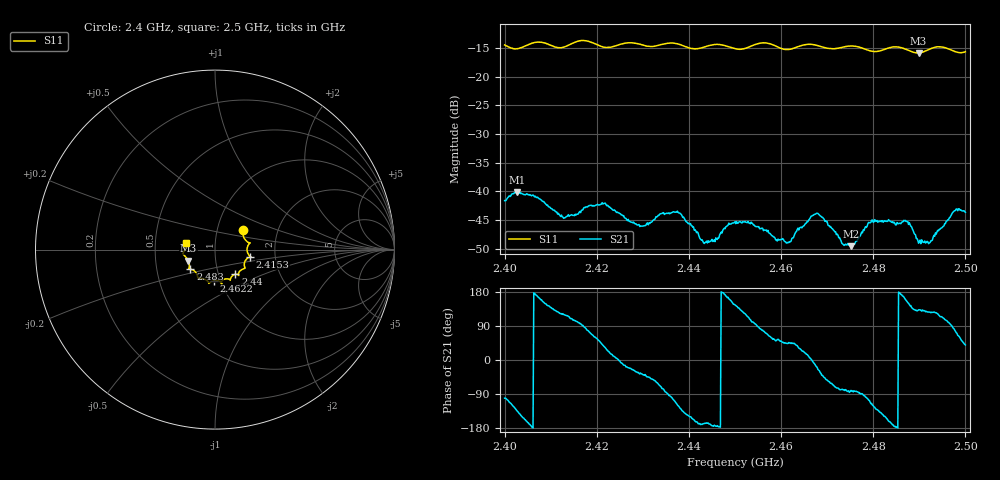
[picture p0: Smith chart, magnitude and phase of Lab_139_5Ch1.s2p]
# Hz S RI R 50
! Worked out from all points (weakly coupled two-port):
!   601 points, 2.4 GHz to 2.5 GHz, reference 50 ohm
!   highest |S21| = -40.17 dB at 2.4027 GHz (marker M1); lowest = -49.6 dB at 2.4752 GHz (marker M2)
!   lowest |S11| = -15.9 dB at 2.4898 GHz (marker M3), VSWR 1.38, Z = 36.8 - j4.64 ohm
!   |S11| at or under -10 dB: start of sweep to end of sweep
!   S12 and S22 are empty: the file has one direction only
!   S11 on the Smith chart (normalised r, x): 2.4 GHz: 1.33, +0.29; 2.4153 GHz: 1.48, -0.12; 2.44 GHz: 1.21, -0.34; 2.4622 GHz: 0.93, -0.33; 2.483 GHz: 0.74, -0.17; 2.5 GHz: 0.72, +0.06
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2.4e9  0.1556 0.1066  -0.00154 -0.00814  0 0  0 0
2.402667e9  0.1623 0.064  -0.00678 -0.00708  0 0  0 0
2.415333e9  0.196 -0.0386  -0.00149 0.00612  0 0  0 0
2.416667e9  0.2018 -0.0425  -0.000417 0.0068  0 0  0 0
2.4215e9  0.1709 -0.0584  0.00626 0.00468  0 0  0 0
2.429833e9  0.1547 -0.109  0.00397 -0.00298  0 0  0 0
2.433333e9  0.1311 -0.1335  0.00278 -0.0055  0 0  0 0
2.4375e9  0.1311 -0.1419  -0.00319 -0.0059  0 0  0 0
2.44e9  0.1141 -0.1368  -0.00442 -0.00279  0 0  0 0
2.4435e9  0.0875 -0.1596  -0.00347 -0.000808  0 0  0 0
2.45e9  0.0646 -0.1629  -0.00445 0.0031  0 0  0 0
2.462167e9  -0.00739 -0.1738  0.00266 0.00253  0 0  0 0
2.466667e9  -0.0344 -0.1876  0.00608 -4.69e-06  0 0  0 0
2.475167e9  -0.0925 -0.1596  0.000561 -0.00327  0 0  0 0
2.479333e9  -0.105 -0.1305  -0.00193 -0.00493  0 0  0 0
2.483e9  -0.1373 -0.1097  -0.00495 -0.00227  0 0  0 0
2.483333e9  -0.1399 -0.1095  -0.00535 -0.00182  0 0  0 0
2.487333e9  -0.143 -0.094  -0.0049 0.00239  0 0  0 0
2.489833e9  -0.1485 -0.0614  -0.00237 0.0026  0 0  0 0
2.492333e9  -0.1712 -0.0321  -0.00211 0.00288  0 0  0 0
2.497667e9  -0.1655 0.000931  0.00128 0.00665  0 0  0 0
2.5e9  -0.1599 0.039  0.00504 0.00417  0 0  0 0
